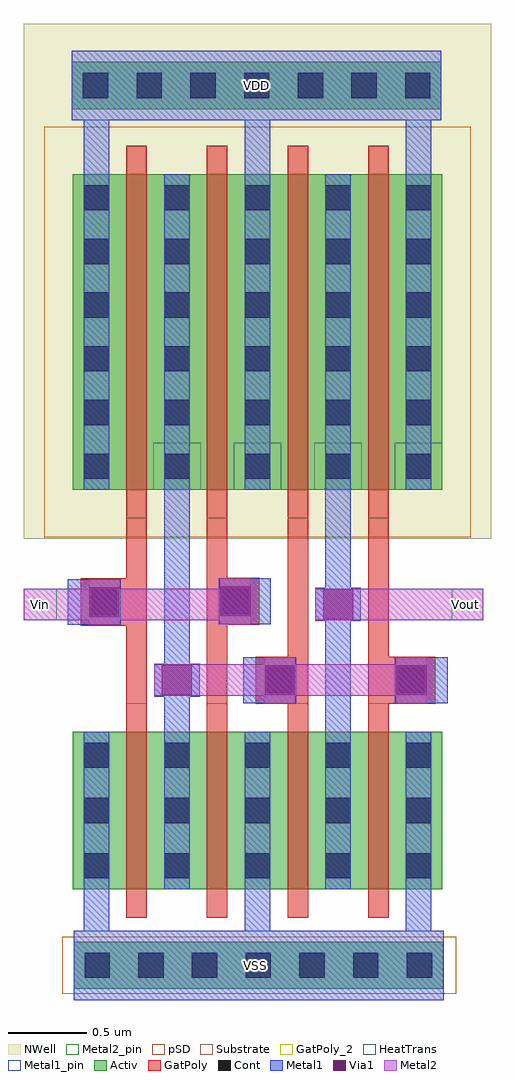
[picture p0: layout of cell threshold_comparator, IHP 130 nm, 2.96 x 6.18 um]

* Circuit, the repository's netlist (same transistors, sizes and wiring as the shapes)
** sch_path: /foss/designs/chipathon_2025/designs/ihp-sg13g2/threshold_circuit/xschem/threshold_comparator.sch
.subckt threshold_comparator VDD Vin Vout VSS
*.PININFO VDD:B VSS:B Vin:I Vout:O
M2 Vx Vin VDD VDD sg13_lv_pmos w=2u l=0.13u ng=1 m=2
M1 Vx Vin VSS VSS sg13_lv_nmos w=1.0u l=0.13u ng=1 m=2
M3 Vout Vx VDD VDD sg13_lv_pmos w=2u l=0.13u ng=1 m=2
M4 Vout Vx VSS VSS sg13_lv_nmos w=1.0u l=0.13u ng=1 m=2
.ends

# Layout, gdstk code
from math import pi, radians
import gdstk
lib = gdstk.Library(unit=1e-6, precision=1e-09)
def R(c, l, rs):  # rectangles x0, y0, x1, y1
    for r in rs: c.add(gdstk.rectangle(r[:2], r[2:], *l))
def A(c, l, x, y, w, h, nx, ny, dx, dy):  # array of equal rectangles
    R(c, l, [(x+i*dx, y+j*dy, x+i*dx+w, y+j*dy+h) for i in range(nx) for j in range(ny)])
Activ = (1, 0)
GatPoly = (5, 0)
GatPoly_2 = (5, 2)
Cont = (6, 0)
Metal1 = (8, 0)
Metal1_pin = (8, 2)
Metal2 = (10, 0)
Metal2_pin = (10, 2)
pSD = (14, 0)
Via1 = (19, 0)
NWell = (31, 0)
Substrate = (40, 0)
HeatTrans = (51, 0)

nmos = lib.new_cell('nmos')
R(nmos, Activ, [(0,0,0.3,0.3), (0,0,0.81,1), (0.51,0,0.81,0.3)])
R(nmos, GatPoly, [(0.34,-0.18,0.47,1.18)])
R(nmos, GatPoly_2, [(0.34,-0.18,0.47,1.18)])
A(nmos, Cont, 0.07, 0.07, 0.16, 0.16, 1, 3, 0, 0.35)
A(nmos, Cont, 0.58, 0.07, 0.16, 0.16, 1, 3, 0, 0.35)
R(nmos, Metal1, [(0.07,0,0.23,1), (0.58,0,0.74,1)])
R(nmos, Metal1_pin, [(0.07,0,0.23,1), (0.58,0,0.74,1)])
R(nmos, HeatTrans, [(0.34,-0.18,0.47,1.18)])
nmos.add(gdstk.Label('nmos', (0.405,0.5), layer=63, texttype=0))
nmos.add(gdstk.Label('nmos', (0.405,0.5), layer=51, texttype=0))

pmos_1 = lib.new_cell('pmos$1')
R(pmos_1, Activ, [(0,0,0.3,0.3), (0,0,0.81,2), (0.51,0,0.81,0.3)])
R(pmos_1, GatPoly, [(0.34,-0.18,0.47,2.18), (0.34,-0.18,0.47,2.18)])
A(pmos_1, Cont, 0.07, 0.07, 0.16, 0.16, 1, 6, 0, 0.34)
A(pmos_1, Cont, 0.58, 0.07, 0.16, 0.16, 1, 6, 0, 0.34)
R(pmos_1, Metal1, [(0.07,0,0.23,2), (0.07,0,0.23,2), (0.58,0,0.74,2), (0.58,0,0.74,2)])
R(pmos_1, pSD, [(-0.18,-0.3,0.99,2.3)])
R(pmos_1, NWell, [(-0.31,-0.31,1.12,2.31)])
R(pmos_1, Substrate, [(0.51,0,0.81,0.3)])
R(pmos_1, HeatTrans, [(0.34,-0.18,0.47,2.18)])
pmos_1.add(gdstk.Label('pmos', (0.405,1), layer=63, texttype=0))
pmos_1.add(gdstk.Label('pmos', (0.405,1), layer=51, texttype=0))

via_stack_2 = lib.new_cell('via_stack$2')
R(via_stack_2, GatPoly, [(-0.15,-0.15,0.15,0.15)])
R(via_stack_2, Cont, [(-0.08,-0.08,0.08,0.08)])
R(via_stack_2, Metal1, [(-0.145,-0.105,0.145,0.105)])
R(via_stack_2, Metal2, [(-0.145,-0.1,0.145,0.1)])
R(via_stack_2, Via1, [(-0.095,-0.095,0.095,0.095)])

via_stack_3 = lib.new_cell('via_stack$3')
R(via_stack_3, Metal1, [(-0.145,-0.105,0.145,0.105)])
R(via_stack_3, Metal2, [(-0.145,-0.1,0.145,0.1)])
R(via_stack_3, Via1, [(-0.095,-0.095,0.095,0.095)])

via_stack_4 = lib.new_cell('via_stack$4')
R(via_stack_4, Activ, [(-1.17,-0.15,1.17,0.15)])
A(via_stack_4, Cont, -1.1, -0.08, 0.16, 0.16, 7, 1, 0.34, 0)
R(via_stack_4, Metal1, [(-1.15,-0.08,1.15,0.08)])

threshold_comparator = lib.new_cell('threshold_comparator')
A(threshold_comparator, GatPoly, 0.99, 1.86, 0.13, 1.17, 4, 1, 0.51, 0)
R(threshold_comparator, Metal1, [(0.655,-0.02,3,0.42), (0.72,0.42,0.88,0.68), (1.74,0.42,1.9,0.68), (1.74,0.42,1.9,0.68), (2.76,0.42,2.92,0.68), (1.23,1.68,1.39,3.21), (2.25,1.68,2.41,3.21), (1.73,1.86,1.855,2.15), (1.73,1.86,1.855,2.15), (2.9,1.86,3.025,2.15), (0.62,2.355,0.745,2.645), (0.62,2.355,0.745,2.645), (1.78,2.36,1.905,2.65), (0.72,5.21,0.88,5.55), (1.74,5.21,1.9,5.55), (1.74,5.21,1.9,5.55), (2.76,5.21,2.92,5.55), (0.645,5.55,2.985,5.99)])
R(threshold_comparator, Metal1_pin, [(0.655,-0.02,3,0.42), (0.645,5.55,2.985,5.99)])
R(threshold_comparator, Metal2, [(1.215,1.905,2.89,2.105), (2.235,2.385,3.25,2.585)])
R(threshold_comparator, Metal2_pin, [(0.34,2.385,0.55,2.585), (3.05,2.385,3.25,2.585)])
R(threshold_comparator, pSD, [(0.585,0.02,3.08,0.38)])
R(threshold_comparator, NWell, [(0.34,2.9,3.3,6.16)])
threshold_comparator.add(gdstk.FlexPath([(0.34,2.485),(1.775,2.485)], 0.2, ends="flush", simple_path=True, layer=10, datatype=0))  # Metal2
threshold_comparator.add(gdstk.Reference(nmos, (1.97,1.68), rotation=pi))
threshold_comparator.add(gdstk.Reference(pmos_1, (1.16,3.21)))
threshold_comparator.add(gdstk.Reference(pmos_1, (0.65,3.21)))
threshold_comparator.add(gdstk.Reference(pmos_1, (0.65,3.21)))
threshold_comparator.add(gdstk.Reference(nmos, (1.46,1.68), rotation=pi))
threshold_comparator.add(gdstk.Reference(via_stack_2, (0.85,2.5), rotation=3*pi/2))
threshold_comparator.add(gdstk.Reference(pmos_1, (0.65,3.21)))
threshold_comparator.add(gdstk.Reference(via_stack_3, (1.31,2.005)))
threshold_comparator.add(gdstk.Reference(via_stack_4, (1.825,0.2)))
threshold_comparator.add(gdstk.Reference(nmos, (2.99,1.68), rotation=pi))
threshold_comparator.add(gdstk.Reference(pmos_1, (2.18,3.21)))
threshold_comparator.add(gdstk.Reference(pmos_1, (1.67,3.21)))
threshold_comparator.add(gdstk.Reference(pmos_1, (1.67,3.21)))
threshold_comparator.add(gdstk.Reference(via_stack_2, (1.96,2.005), rotation=3*pi/2))
threshold_comparator.add(gdstk.Reference(via_stack_2, (2.795,2.005), rotation=3*pi/2))
threshold_comparator.add(gdstk.Reference(pmos_1, (1.67,3.21)))
threshold_comparator.add(gdstk.Reference(via_stack_3, (2.33,2.485)))
threshold_comparator.add(gdstk.Reference(via_stack_4, (1.815,5.77)))
threshold_comparator.add(gdstk.Reference(nmos, (2.48,1.68), rotation=pi))
threshold_comparator.add(gdstk.Reference(via_stack_2, (1.68,2.505), rotation=3*pi/2))
threshold_comparator.add(gdstk.Label('VDD', (1.815,5.77), layer=8, texttype=25))
threshold_comparator.add(gdstk.Label('VSS', (1.81,0.196), layer=8, texttype=25))
threshold_comparator.add(gdstk.Label('Vin', (0.445,2.485), layer=10, texttype=25))
threshold_comparator.add(gdstk.Label('Vout', (3.14,2.485), layer=10, texttype=25))

lib.write_gds('threshold_comparator.gds')
